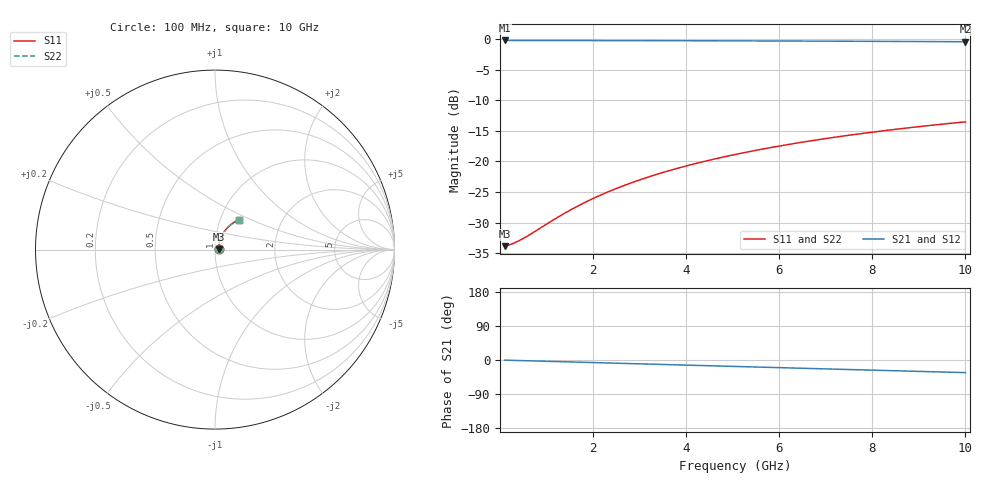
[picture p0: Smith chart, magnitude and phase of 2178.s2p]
# Hz S RI R 50.00
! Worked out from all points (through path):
!   100 points, 100 MHz to 10 GHz, reference 50 ohm
!   highest |S21| = -0.18 dB at 100 MHz (marker M1); lowest = -0.4 dB at 10 GHz (marker M2)
!   group delay of S21, straight-line fit = 9.26 ps
!   lowest |S11| = -33.9 dB at 100 MHz (marker M3), VSWR 1.04, Z = 52.1 + j0.223 ohm
!   |S11| at or under -10 dB: start of sweep to end of sweep
!   |S22| runs from -33.9 to -13.5 dB; largest |S21 - S12| = 0
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1e8  0.0201 0.00215  0.9799 -0.00578  0.9799 -0.00578  0.0201 0.00215
2e8  0.0203 0.00429  0.9797 -0.0116  0.9797 -0.0116  0.0203 0.00429
3e8  0.0205 0.00643  0.9795 -0.0173  0.9795 -0.0173  0.0205 0.00643
5e8  0.0208 0.0107  0.979 -0.0289  0.979 -0.0289  0.0208 0.0107
7e8  0.0212 0.015  0.9784 -0.0404  0.9784 -0.0404  0.0212 0.015
1.3e9  0.023 0.0277  0.9758 -0.075  0.9758 -0.075  0.023 0.0277
1.5e9  0.0238 0.0319  0.9747 -0.0865  0.9747 -0.0865  0.0238 0.0319
1.8e9  0.0251 0.0382  0.9727 -0.1036  0.9727 -0.1036  0.0251 0.0382
2.1e9  0.0266 0.0444  0.9703 -0.1208  0.9703 -0.1208  0.0266 0.0444
2.5e9  0.029 0.0526  0.9667 -0.1435  0.9667 -0.1435  0.029 0.0526
2.9e9  0.0318 0.0607  0.9625 -0.1661  0.9625 -0.1661  0.0318 0.0607
3.4e9  0.0358 0.0705  0.9563 -0.1941  0.9563 -0.1941  0.0358 0.0705
3.8e9  0.0394 0.0782  0.9508 -0.2163  0.9508 -0.2163  0.0394 0.0782
4.2e9  0.0434 0.0857  0.9447 -0.2383  0.9447 -0.2383  0.0434 0.0857
4.6e9  0.0477 0.093  0.938 -0.2601  0.938 -0.2601  0.0477 0.093
5.1e9  0.0535 0.1019  0.9289 -0.287  0.9289 -0.287  0.0535 0.1019
5.9e9  0.0638 0.1152  0.9126 -0.3292  0.9126 -0.3292  0.0638 0.1152
6.7e9  0.0753 0.1274  0.8943 -0.3703  0.8943 -0.3703  0.0753 0.1274
7.5e9  0.0879 0.1385  0.874 -0.41  0.874 -0.41  0.0879 0.1385
8.4e9  0.103 0.1494  0.849 -0.4532  0.849 -0.4532  0.103 0.1494
9.2e9  0.1174 0.1577  0.825 -0.49  0.825 -0.49  0.1174 0.1577
1e10  0.1323 0.1646  0.7995 -0.5253  0.7995 -0.5253  0.1323 0.1646
